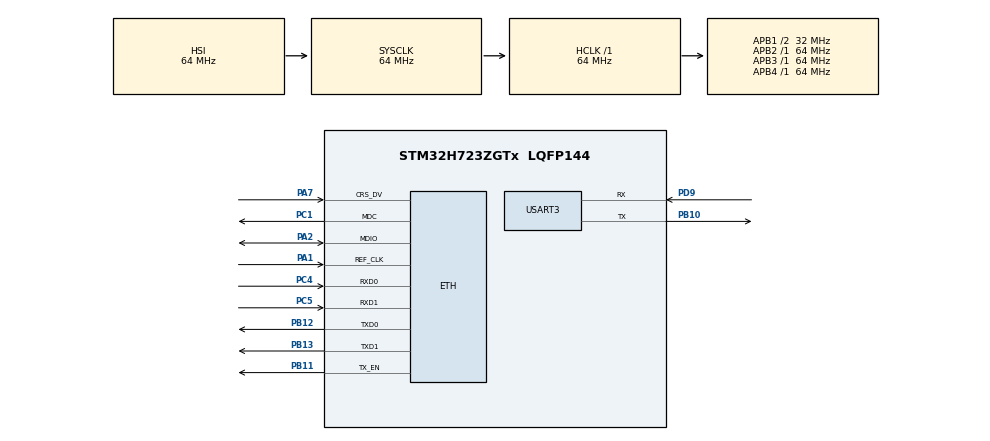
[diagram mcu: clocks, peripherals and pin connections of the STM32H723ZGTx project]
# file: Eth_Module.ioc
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CORTEX_M7.default_mode_Activation=1
ETH.MediaInterface=HAL_ETH_RMII_MODE
FREERTOS.Tasks01=defaultTask,24,128,StartDefaultTask,Default,NULL,Dynamic,NULL,NULL
LWIP.BSP.number=1
LWIP.LWIP_DHCP=0
LWIP.Version=v2.1.2_Cube
LWIP0.BSP.STBoard=false
LWIP0.BSP.api=BSP_COMPONENT_DRIVER
LWIP0.BSP.component=LAN8742
LWIP0.BSP.instance=LAN8742
LWIP0.BSP.name=Driver_PHY
LWIP0.BSP.semaphore=S_LAN8742
LWIP0.BSP.solution=LAN8742
Mcu.Family=STM32H7
Mcu.Name=STM32H723ZGTx
Mcu.Package=LQFP144
NVIC.ETH_IRQn=true\:5\:0\:false\:false\:true\:true\:true\:true\:true
NVIC.PriorityGroup=NVIC_PRIORITYGROUP_4
PA1.Mode=RMII
PA1.Signal=ETH_REF_CLK
PA2.Mode=RMII
PA2.Signal=ETH_MDIO
PA7.Mode=RMII
PA7.Signal=ETH_CRS_DV
PB10.Mode=Asynchronous
PB10.Signal=USART3_TX
PB11.Mode=RMII
PB11.Signal=ETH_TX_EN
PB12.Mode=RMII
PB12.Signal=ETH_TXD0
PB13.Mode=RMII
PB13.Signal=ETH_TXD1
PC1.Mode=RMII
PC1.Signal=ETH_MDC
PC4.Mode=RMII
PC4.Signal=ETH_RXD0
PC5.Mode=RMII
PC5.Signal=ETH_RXD1
PD9.Mode=Asynchronous
PD9.Signal=USART3_RX
ProjectManager.HeapSize=0x8000
ProjectManager.StackSize=0x2000
ProjectManager.TargetToolchain=STM32CubeIDE
RCC.ADCFreq_Value=129000000
RCC.APB1Freq_Value=32000000
RCC.APB2Freq_Value=64000000
RCC.APB3Freq_Value=64000000
RCC.APB4Freq_Value=64000000
RCC.CortexFreq_Value=64000000
RCC.D2PPRE1=RCC_APB1_DIV2
RCC.HCLKFreq_Value=64000000
RCC.PLL1_VCI_Range-AdvancedSettings=RCC_PLL1VCIRANGE_3
RCC.SYSCLKFreq_VALUE=64000000
RCC.USBFreq_Value=129000000
USART3.VirtualMode-Asynchronous=VM_ASYNC
VP_FREERTOS_VS_CMSIS_V2.Mode=CMSIS_V2
VP_LWIP_VS_Enabled.Mode=Enabled
VP_MEMORYMAP_VS_MEMORYMAP.Mode=CurAppReg
board=custom

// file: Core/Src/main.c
/* USER CODE BEGIN Header */
/**
  ******************************************************************************
  * @file           : main.c
  * @brief          : Main program body
  ******************************************************************************
  */
/* USER CODE END Header */
#include "main.h"
#include "cmsis_os.h"
#include "lwip.h"

/* USER CODE BEGIN Includes */
#include "ethernet_task.h"
#include "debug_uart.h"
/* USER CODE END Includes */

UART_HandleTypeDef huart3;

/* Definitions for EthernetTask */
osThreadId_t ethernetTaskHandle;
const osThreadAttr_t ethernetTask_attributes = {
  .name = "EthernetTask",
  .stack_size = 8192,
  .priority = (osPriority_t) osPriorityNormal,
};

void SystemClock_Config(void);
static void MPU_Config(void);
static void MX_GPIO_Init(void);
static void MX_USART3_UART_Init(void);
void EthernetTask(void *argument);

int main(void)
{

  /* MPU Configuration--------------------------------------------------------*/
  MPU_Config();
  SCB->CCR &= ~SCB_CCR_UNALIGN_TRP_Msk;
  __DSB();
  __ISB();

  /* MCU Configuration--------------------------------------------------------*/
  HAL_Init();

  /* Configure the system clock */
  SystemClock_Config();

  /* Initialize all configured peripherals */
  MX_GPIO_Init();
  MX_USART3_UART_Init();

  /* USER CODE BEGIN 2 */
  /* Тест UART перед запуском RTOS */
  uint8_t msg[] = "\r\n=== SYSTEM START ===\r\n";
  HAL_UART_Transmit(&huart3, msg, sizeof(msg)-1, 100);

  DebugUART_Print("CPU Clock: %lu Hz\r\n", SystemCoreClock);
  DebugUART_Print("Starting FreeRTOS...\r\n");

  /* Тест светодиода - PB0 (зеленый LED) */
  __HAL_RCC_GPIOB_CLK_ENABLE();
  GPIO_InitTypeDef GPIO_InitStruct = {0};
  GPIO_InitStruct.Pin = GPIO_PIN_0;
  GPIO_InitStruct.Mode = GPIO_MODE_OUTPUT_PP;
  GPIO_InitStruct.Pull = GPIO_NOPULL;
  GPIO_InitStruct.Speed = GPIO_SPEED_FREQ_LOW;
  HAL_GPIO_Init(GPIOB, &GPIO_InitStruct);

  /* Мигнем LED 3 раза */
  for(int i = 0; i < 3; i++) {
      HAL_GPIO_WritePin(GPIOB, GPIO_PIN_0, GPIO_PIN_SET);
      HAL_Delay(100);
      HAL_GPIO_WritePin(GPIOB, GPIO_PIN_0, GPIO_PIN_RESET);
      HAL_Delay(100);
  }
  HAL_GPIO_WritePin(GPIOB, GPIO_PIN_0, GPIO_PIN_SET);
  /* USER CODE END 2 */

  /* Init scheduler */
  osKernelInitialize();

  /* Create the thread(s) */
  ethernetTaskHandle = osThreadNew(EthernetTask, NULL, &ethernetTask_attributes);

  /* Start scheduler */
  DebugUART_Print("Starting scheduler...\r\n");
  osKernelStart();

  /* Infinite loop */
  while (1) {}
}

void SystemClock_Config(void)
{
  RCC_OscInitTypeDef RCC_OscInitStruct = {0};
  RCC_ClkInitTypeDef RCC_ClkInitStruct = {0};
  RCC_PeriphCLKInitTypeDef PeriphClkInitStruct = {0};

  HAL_PWREx_ConfigSupply(PWR_LDO_SUPPLY);
  __HAL_PWR_VOLTAGESCALING_CONFIG(PWR_REGULATOR_VOLTAGE_SCALE3);
  while(!__HAL_PWR_GET_FLAG(PWR_FLAG_VOSRDY)) {}

  /* === OSC: HSI 64 MHz, PLL for SYSCLK disabled (как у тебя) === */
  RCC_OscInitStruct.OscillatorType = RCC_OSCILLATORTYPE_HSI;
  RCC_OscInitStruct.HSIState = RCC_HSI_DIV1;
  RCC_OscInitStruct.HSICalibrationValue = 64;
  RCC_OscInitStruct.PLL.PLLState = RCC_PLL_NONE;

  if (HAL_RCC_OscConfig(&RCC_OscInitStruct) != HAL_OK)
    Error_Handler();

  /* === CORE CLOCK: SYSCLK = HSI (64 MHz) === */
  RCC_ClkInitStruct.ClockType = RCC_CLOCKTYPE_HCLK|RCC_CLOCKTYPE_SYSCLK
                              |RCC_CLOCKTYPE_PCLK1|RCC_CLOCKTYPE_PCLK2
                              |RCC_CLOCKTYPE_D3PCLK1|RCC_CLOCKTYPE_D1PCLK1;

  RCC_ClkInitStruct.SYSCLKSource = RCC_SYSCLKSOURCE_HSI;
  RCC_ClkInitStruct.SYSCLKDivider = RCC_SYSCLK_DIV1;
  RCC_ClkInitStruct.AHBCLKDivider = RCC_HCLK_DIV1;
  RCC_ClkInitStruct.APB3CLKDivider = RCC_APB3_DIV1;
  RCC_ClkInitStruct.APB1CLKDivider = RCC_APB1_DIV2;
  RCC_ClkInitStruct.APB2CLKDivider = RCC_APB2_DIV1;
  RCC_ClkInitStruct.APB4CLKDivider = RCC_APB4_DIV1;

  if (HAL_RCC_ClockConfig(&RCC_ClkInitStruct, FLASH_LATENCY_1) != HAL_OK)
    Error_Handler();

  /* ============================================================
   * ВОТ ЭТО ГЛАВНАЯ ДОБАВКА: ETH1 kernel clock от PLL3Q = 50MHz
   * HSI = 64MHz
   * PLL3M=4 => 16MHz
   * PLL3N=100 => 1600MHz VCO
   * PLL3Q=32 => 50MHz (RMII-friendly)
   * ============================================================ */
  PeriphClkInitStruct.PeriphClockSelection = RCC_PERIPHCLK_ETH1;
  PeriphClkInitStruct.Eth1ClockSelection   = RCC_ETH1CLKSOURCE_PLL3;

  PeriphClkInitStruct.PLL3.PLL3M = 4;
  PeriphClkInitStruct.PLL3.PLL3N = 100;
  PeriphClkInitStruct.PLL3.PLL3P = 2;
  PeriphClkInitStruct.PLL3.PLL3Q = 32;
  PeriphClkInitStruct.PLL3.PLL3R = 2;
  PeriphClkInitStruct.PLL3.PLL3VCOSEL = RCC_PLL3VCOWIDE;
  PeriphClkInitStruct.PLL3.PLL3RGE    = RCC_PLL3VCIRANGE_2;

  if (HAL_RCCEx_PeriphCLKConfig(&PeriphClkInitStruct) != HAL_OK)
    Error_Handler();
}

static void MX_USART3_UART_Init(void)
{
  /* USER CODE BEGIN USART3_Init 0 */
  /* Включаем тактирование USART3 */
  __HAL_RCC_USART3_CLK_ENABLE();
  /* USER CODE END USART3_Init 0 */

  huart3.Instance = USART3;
  huart3.Init.BaudRate = 115200;
  huart3.Init.WordLength = UART_WORDLENGTH_8B;
  huart3.Init.StopBits = UART_STOPBITS_1;
  huart3.Init.Parity = UART_PARITY_NONE;
  huart3.Init.Mode = UART_MODE_TX_RX;
  huart3.Init.HwFlowCtl = UART_HWCONTROL_NONE;
  huart3.Init.OverSampling = UART_OVERSAMPLING_16;
  huart3.Init.OneBitSampling = UART_ONE_BIT_SAMPLE_DISABLE;
  huart3.Init.ClockPrescaler = UART_PRESCALER_DIV1;

  if (HAL_UART_Init(&huart3) != HAL_OK)
    Error_Handler();

  /* USER CODE BEGIN USART3_Init 2 */
  uint8_t test_msg[] = "\r\n=== USART3 INIT OK (PD8/PD9) ===\r\n";
  HAL_UART_Transmit(&huart3, test_msg, sizeof(test_msg)-1, 100);
  /* USER CODE END USART3_Init 2 */
}

static void MX_GPIO_Init(void)
{
  /* USER CODE BEGIN MX_GPIO_Init_1 */
  /* НАСТРАИВАЕМ USART3 НА PD8(TX)/PD9(RX) */

  /* Включаем тактирование GPIOD */
  __HAL_RCC_GPIOD_CLK_ENABLE();

  GPIO_InitTypeDef GPIO_InitStruct = {0};

  /* PD8 - USART3_TX */
  GPIO_InitStruct.Pin = GPIO_PIN_8;
  GPIO_InitStruct.Mode = GPIO_MODE_AF_PP;
  GPIO_InitStruct.Pull = GPIO_NOPULL;
  GPIO_InitStruct.Speed = GPIO_SPEED_FREQ_VERY_HIGH;
  GPIO_InitStruct.Alternate = GPIO_AF7_USART3;
  HAL_GPIO_Init(GPIOD, &GPIO_InitStruct);

  /* PD9 - USART3_RX */
  GPIO_InitStruct.Pin = GPIO_PIN_9;
  GPIO_InitStruct.Mode = GPIO_MODE_AF_PP;
  GPIO_InitStruct.Pull = GPIO_NOPULL;
  GPIO_InitStruct.Speed = GPIO_SPEED_FREQ_VERY_HIGH;
  GPIO_InitStruct.Alternate = GPIO_AF7_USART3;
  HAL_GPIO_Init(GPIOD, &GPIO_InitStruct);
  /* USER CODE END MX_GPIO_Init_1 */

  /* GPIO Ports Clock Enable */
  __HAL_RCC_GPIOC_CLK_ENABLE();
  __HAL_RCC_GPIOA_CLK_ENABLE();
  __HAL_RCC_GPIOB_CLK_ENABLE();
  __HAL_RCC_GPIOD_CLK_ENABLE();

  /* USER CODE BEGIN MX_GPIO_Init_2 */
  /* ЗАКОММЕНТИРУЙТЕ СГЕНЕРИРОВАННЫЙ БЛОК USART3, ЕСЛИ ОН ЕСТЬ */
  /*
  GPIO_InitStruct.Pin = GPIO_PIN_8|GPIO_PIN_9;
  GPIO_InitStruct.Mode = GPIO_MODE_AF_PP;
  GPIO_InitStruct.Pull = GPIO_NOPULL;
  GPIO_InitStruct.Speed = GPIO_SPEED_FREQ_VERY_HIGH;
  GPIO_InitStruct.Alternate = GPIO_AF7_USART3;
  HAL_GPIO_Init(GPIOD, &GPIO_InitStruct);
  */
  /* USER CODE END MX_GPIO_Init_2 */
}

void Error_Handler(void)
{
  __disable_irq();
  while (1)
  {
    HAL_GPIO_TogglePin(GPIOB, GPIO_PIN_0);
    HAL_Delay(100);
  }
}

static void MPU_Config(void)
{
  MPU_Region_InitTypeDef MPU_InitStruct = {0};

  /* Disable MPU */
  HAL_MPU_Disable();

  /* Region 0: FLASH 0x08000000, 1MB, executable, cacheable */
  MPU_InitStruct.Enable           = MPU_REGION_ENABLE;
  MPU_InitStruct.Number           = MPU_REGION_NUMBER0;
  MPU_InitStruct.BaseAddress      = 0x08000000;
  MPU_InitStruct.Size             = MPU_REGION_SIZE_1MB;
  MPU_InitStruct.SubRegionDisable = 0x00;
  MPU_InitStruct.TypeExtField     = MPU_TEX_LEVEL0;
  MPU_InitStruct.AccessPermission = MPU_REGION_FULL_ACCESS;
  MPU_InitStruct.DisableExec      = MPU_INSTRUCTION_ACCESS_ENABLE;   /* <-- ВАЖНО: разрешаем выполнение */
  MPU_InitStruct.IsShareable      = MPU_ACCESS_NOT_SHAREABLE;
  MPU_InitStruct.IsCacheable      = MPU_ACCESS_CACHEABLE;
  MPU_InitStruct.IsBufferable     = MPU_ACCESS_NOT_BUFFERABLE;
  HAL_MPU_ConfigRegion(&MPU_InitStruct);

  /* Region 1: RAM_D1 0x24000000, 512KB (покрывает 320KB), executable, cacheable */
  MPU_InitStruct.Number           = MPU_REGION_NUMBER1;
  MPU_InitStruct.BaseAddress      = 0x24000000;
  MPU_InitStruct.Size             = MPU_REGION_SIZE_512KB;
  MPU_InitStruct.DisableExec      = MPU_INSTRUCTION_ACCESS_ENABLE;
  MPU_InitStruct.IsShareable      = MPU_ACCESS_NOT_SHAREABLE;
  MPU_InitStruct.IsCacheable      = MPU_ACCESS_CACHEABLE;
  MPU_InitStruct.IsBufferable     = MPU_ACCESS_NOT_BUFFERABLE;
  MPU_InitStruct.TypeExtField     = MPU_TEX_LEVEL0;
  HAL_MPU_ConfigRegion(&MPU_InitStruct);

  /* Region 2: RAM_D2 0x30000000, 32KB, non-cacheable, XN (для DMA/ETH/LwIP) */
  MPU_InitStruct.Number           = MPU_REGION_NUMBER2;
  MPU_InitStruct.BaseAddress      = 0x30000000;
  MPU_InitStruct.Size             = MPU_REGION_SIZE_32KB;
  MPU_InitStruct.DisableExec      = MPU_INSTRUCTION_ACCESS_DISABLE;  /* XN */
  MPU_InitStruct.IsShareable      = MPU_ACCESS_SHAREABLE;
  MPU_InitStruct.IsCacheable      = MPU_ACCESS_NOT_CACHEABLE;
  MPU_InitStruct.IsBufferable     = MPU_ACCESS_BUFFERABLE;
  MPU_InitStruct.TypeExtField     = MPU_TEX_LEVEL1;
  HAL_MPU_ConfigRegion(&MPU_InitStruct);

  /* Region 3: DTCM 0x20000000, 128KB, non-cacheable */
  MPU_InitStruct.Number           = MPU_REGION_NUMBER3;
  MPU_InitStruct.BaseAddress      = 0x20000000;
  MPU_InitStruct.Size             = MPU_REGION_SIZE_128KB;
  MPU_InitStruct.DisableExec      = MPU_INSTRUCTION_ACCESS_ENABLE;
  MPU_InitStruct.IsShareable      = MPU_ACCESS_NOT_SHAREABLE;
  MPU_InitStruct.IsCacheable      = MPU_ACCESS_NOT_CACHEABLE;
  MPU_InitStruct.IsBufferable     = MPU_ACCESS_NOT_BUFFERABLE;
  MPU_InitStruct.TypeExtField     = MPU_TEX_LEVEL0;
  HAL_MPU_ConfigRegion(&MPU_InitStruct);

  /* Enable MPU: важно включить PRIVILEGED_DEFAULT, чтобы не “отрезать” карту памяти */
  HAL_MPU_Enable(MPU_PRIVILEGED_DEFAULT);

  /* Enable caches */
  SCB_EnableICache();
  SCB_EnableDCache();
}

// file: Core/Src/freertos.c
/* USER CODE BEGIN Header */
/**
  ******************************************************************************
  * File Name          : freertos.c
  * Description        : Code for freertos applications
  ******************************************************************************
  * @attention
  *
  * Copyright (c) 2026 STMicroelectronics.
  * All rights reserved.
  *
  * This software is licensed under terms that can be found in the LICENSE file
  * in the root directory of this software component.
  * If no LICENSE file comes with this software, it is provided AS-IS.
  *
  ******************************************************************************
  */
/* USER CODE END Header */

#include "FreeRTOS.h"
#include "task.h"
#include "cmsis_os.h"

/*
 * ВАЖНО:
 * Этот файл НЕ ДОЛЖЕН быть пустым,
 * иначе CMSIS-RTOS не поднимает ядро!
 */

void MX_FREERTOS_Init(void)
{
    /* Пока ничего не создаём здесь.
       Все задачи создаются вручную в main.c */
}
